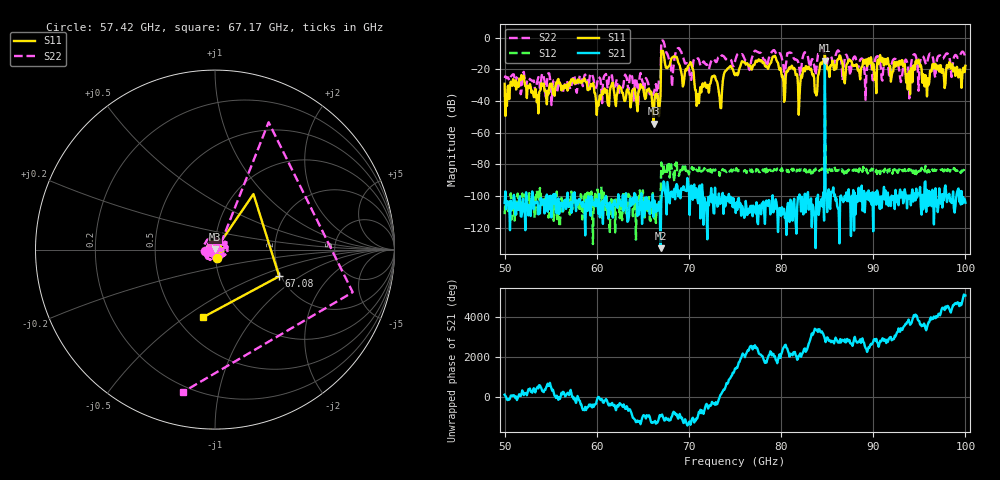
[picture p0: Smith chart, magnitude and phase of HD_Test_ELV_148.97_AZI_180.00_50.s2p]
! 11/25/2026 9:28:23 AM
! C:\ANRITSUVNA\TEMP\TEMP.S2P
! CHANNEL.1
! TR.MEASUREMENT
! RAW.DATA
# HZ S RI R 50.0
! FREQ.HZ  S11RE  S11IM  S21RE  S21IM  S12RE  S12IM  S22RE  S22IM
!; PortSelection: Port_12
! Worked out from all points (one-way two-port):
!   601 points, 50 GHz to 100 GHz, reference 50 ohm
!   highest |S21| = -14.53 dB at 84.75 GHz (marker M1); lowest = -133.0 dB at 66.92 GHz (marker M2)
!   lowest |S11| = -54.4 dB at 66.17 GHz (marker M3), VSWR 1.00, Z = 50.1 + j0.148 ohm
!   |S11| at or under -10 dB: start of sweep to 67 GHz; 67.24 GHz to end of sweep
!   |S22| runs from -42.6 to -1.8 dB; largest |S21 - S12| = 0.21
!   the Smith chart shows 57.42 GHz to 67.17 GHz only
!   S11 on the Smith chart (normalised r, x): 57.42 GHz: 1.02, -0.10; 67.08 GHz: 1.95, -0.68; 67.17 GHz: 0.67, -0.59
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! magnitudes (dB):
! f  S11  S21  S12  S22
! 50 GHz  -29.2  -104.4  -111.6  -25.4
! 57.42 GHz  -26.3  -98.7  -101.4  -25.2
! 58.42 GHz  -27.2  -106.8  -114.9  -29.0
! 60.17 GHz  -43.1  -111.3  -99.4  -24.8
! 61.67 GHz  -28.7  -105.5  -112.8  -24.5
! 66.17 GHz  -54.4  -113.4  -106.7  -35.4
! 66.67 GHz  -42.0  -108.4  -107.2  -32.2
! 66.92 GHz  -37.2  -133.0  -105.4  -26.7
! 67.08 GHz  -8.2  -97.3  -82.1  -1.9
! 67.17 GHz  -8.4  -96.3  -85.9  -1.8
! 70.17 GHz  -15.4  -94.4  -84.3  -25.7
! 70.92 GHz  -40.8  -101.9  -84.2  -13.3
! 75 GHz  -23.7  -104.7  -85.1  -15.0
! 79.25 GHz  -11.8  -103.9  -83.1  -7.9
! 80.25 GHz  -27.6  -108.2  -83.2  -17.6
! 83.42 GHz  -23.8  -105.6  -85.6  -13.6
! 84.75 GHz  -10.2  -14.5  -30.1  -10.5
! 91.67 GHz  -16.7  -106.4  -83.4  -20.4
! 93.75 GHz  -32.7  -99.9  -84.8  -17.2
! 94.83 GHz  -15.0  -99.3  -84.8  -20.3
! 95.83 GHz  -37.1  -96.2  -85.2  -15.9
! 100 GHz  -17.7  -104.4  -83.3  -12.1
